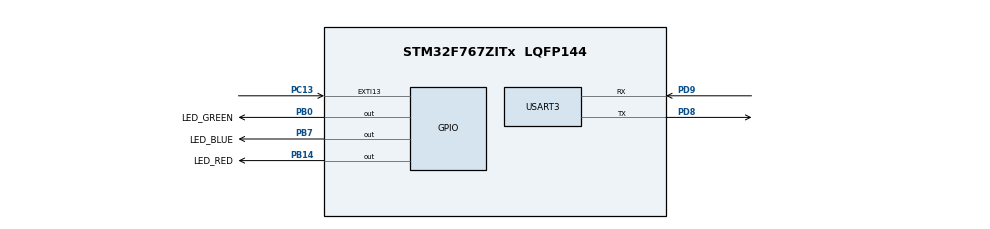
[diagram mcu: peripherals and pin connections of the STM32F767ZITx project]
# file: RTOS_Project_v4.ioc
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FREERTOS.BinarySemaphores01=myBinarySem01,Dynamic,NULL;invBinSemaphore,Dynamic,NULL
FREERTOS.Mutexes01=myMutex01,Dynamic,NULL;myMutex02,Dynamic,NULL;pipMutex,Dynamic,NULL
FREERTOS.Queues01=ledQueue,16,Message_t,0,Dynamic,NULL,NULL
FREERTOS.Tasks01=cli,24,128,CLI,Default,NULL,Dynamic,NULL,NULL;ledBlink,8,128,LedBlink,Default,NULL,Dynamic,NULL,NULL;pushButton,8,128,PushButton,Default,NULL,Dynamic,NULL,NULL;highPrioTask,15,128,HighPriorityTask,Default,NULL,Dynamic,NULL,NULL;mediumPrioTask,14,128,MediumPriorityTask,Default,NULL,Dynamic,NULL,NULL;lowPrioTask,13,128,LowPriorityTask,Default,NULL,Dynamic,NULL,NULL
FREERTOS.Timers01=myTimer01,Callback01,osTimerPeriodic,Default,NULL,Dynamic,NULL
FREERTOS.configUSE_NEWLIB_REENTRANT=1
Mcu.Family=STM32F7
Mcu.Name=STM32F767ZITx
Mcu.Package=LQFP144
NVIC.EXTI15_10_IRQn=true\:5\:0\:false\:false\:true\:true\:true\:true
NVIC.PriorityGroup=NVIC_PRIORITYGROUP_4
NVIC.TIM6_DAC_IRQn=true\:15\:0\:false\:false\:true\:false\:false\:true
NVIC.TimeBase=TIM6_DAC_IRQn
NVIC.TimeBaseIP=TIM6
NVIC.USART3_IRQn=true\:5\:0\:false\:false\:true\:true\:true\:true
PB0.GPIO_Label=LED_GREEN
PB0.Signal=GPIO_Output
PB14.GPIO_Label=LED_RED
PB14.Signal=GPIO_Output
PB7.GPIO_Label=LED_BLUE
PB7.Signal=GPIO_Output
PC13.Signal=GPXTI13
PD8.Mode=Asynchronous
PD8.Signal=USART3_TX
PD9.Mode=Asynchronous
PD9.Signal=USART3_RX
ProjectManager.HeapSize=0x200
ProjectManager.StackSize=0x400
ProjectManager.TargetToolchain=STM32CubeIDE
RCC.HSE_VALUE=25000000
RCC.HSI_VALUE=16000000
RCC.LSE_VALUE=32768
RCC.USBFreq_Value=96000000
RCC.VCOOutputFreq_Value=192000000
USART3.VirtualMode-Asynchronous=VM_ASYNC
VP_FREERTOS_VS_CMSIS_V2.Mode=CMSIS_V2
VP_SYS_VS_tim6.Mode=TIM6
board=custom

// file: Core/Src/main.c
/* USER CODE BEGIN Header */
/**
  ******************************************************************************
  * @file           : main.c
  * @brief          : Main program body
  ******************************************************************************
  * @attention
  *
  * Copyright (c) 2022 STMicroelectronics.
  * All rights reserved.
  *
  * This software is licensed under terms that can be found in the LICENSE file
  * in the root directory of this software component.
  * If no LICENSE file comes with this software, it is provided AS-IS.
  *
  ******************************************************************************
  */
/* USER CODE END Header */
#include "main.h"
#include "cmsis_os.h"
#include "usart.h"
#include "gpio.h"

void SystemClock_Config(void);
void MX_FREERTOS_Init(void);

int main(void)
{

  /* MCU Configuration--------------------------------------------------------*/

  /* Reset of all peripherals, Initializes the Flash interface and the Systick. */
  HAL_Init();

  /* Configure the system clock */
  SystemClock_Config();

  /* Initialize all configured peripherals */
  MX_GPIO_Init();
  MX_USART3_UART_Init();

  /* Init scheduler */
  osKernelInitialize();  /* Call init function for freertos objects (in freertos.c) */
  MX_FREERTOS_Init();
  /* Start scheduler */
  osKernelStart();

  /* We should never get here as control is now taken by the scheduler */
  /* Infinite loop */
  while (1)
  {

  }
}

void SystemClock_Config(void)
{
  RCC_OscInitTypeDef RCC_OscInitStruct = {0};
  RCC_ClkInitTypeDef RCC_ClkInitStruct = {0};

  /** Configure the main internal regulator output voltage
  */
  __HAL_RCC_PWR_CLK_ENABLE();
  __HAL_PWR_VOLTAGESCALING_CONFIG(PWR_REGULATOR_VOLTAGE_SCALE3);
  /** Initializes the RCC Oscillators according to the specified parameters
  * in the RCC_OscInitTypeDef structure.
  */
  RCC_OscInitStruct.OscillatorType = RCC_OSCILLATORTYPE_HSI;
  RCC_OscInitStruct.HSIState = RCC_HSI_ON;
  RCC_OscInitStruct.HSICalibrationValue = RCC_HSICALIBRATION_DEFAULT;
  RCC_OscInitStruct.PLL.PLLState = RCC_PLL_NONE;
  if (HAL_RCC_OscConfig(&RCC_OscInitStruct) != HAL_OK)
  {
    Error_Handler();
  }
  /** Initializes the CPU, AHB and APB buses clocks
  */
  RCC_ClkInitStruct.ClockType = RCC_CLOCKTYPE_HCLK|RCC_CLOCKTYPE_SYSCLK
                              |RCC_CLOCKTYPE_PCLK1|RCC_CLOCKTYPE_PCLK2;
  RCC_ClkInitStruct.SYSCLKSource = RCC_SYSCLKSOURCE_HSI;
  RCC_ClkInitStruct.AHBCLKDivider = RCC_SYSCLK_DIV1;
  RCC_ClkInitStruct.APB1CLKDivider = RCC_HCLK_DIV1;
  RCC_ClkInitStruct.APB2CLKDivider = RCC_HCLK_DIV1;

  if (HAL_RCC_ClockConfig(&RCC_ClkInitStruct, FLASH_LATENCY_0) != HAL_OK)
  {
    Error_Handler();
  }
}

void HAL_TIM_PeriodElapsedCallback(TIM_HandleTypeDef *htim)
{
  if (htim->Instance == TIM6) {
    HAL_IncTick();
  }
}

void Error_Handler(void)
{
  __disable_irq();
  while (1)
  {
  }
}

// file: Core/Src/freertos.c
/* USER CODE BEGIN Header */
/**
  ******************************************************************************
  * File Name          : freertos.c
  * Description        : Code for freertos applications
  ******************************************************************************
  * @attention
  *
  * Copyright (c) 2022 STMicroelectronics.
  * All rights reserved.
  *
  * This software is licensed under terms that can be found in the LICENSE file
  * in the root directory of this software component.
  * If no LICENSE file comes with this software, it is provided AS-IS.
  *
  ******************************************************************************
  */
/* USER CODE END Header */

#include "FreeRTOS.h"
#include "task.h"
#include "main.h"
#include "cmsis_os.h"

/* USER CODE BEGIN Includes */

#include <stdio.h>
#include <string.h>
#include <stdlib.h>
#include <stdint.h>
#include <stdbool.h>
#include "usart.h"

/* USER CODE END Includes */

/* USER CODE BEGIN PD */

#define RX_LEN 1024
#define EOM	'\n'
#define CR	'\r'

#define MESSAGE_TYPE_S				0
#define MESSAGE_TYPE_BLINK			1
#define MESSAGE_TYPE_PUSH_BUTTON	2
#define MESSAGE_TYPE_PIP			3
#define MESSAGE_TYPE_INV			4
#define MESSAGE_ANIMATION_SP		5
#define MESSAGE_ANIMATION_LEDS		6

#define THREAD_FLAG_PUSHBUTTON		(1U<<0)
#define THREAD_FLAG_MSGRECEIVED		(1U<<1)
#define THREAD_FLAG_MSGSENT			(1U<<2)

/* USER CODE END PD */

/* USER CODE BEGIN Variables */

/* Struct to encapsulate the data */
typedef struct Message
{
	uint8_t type;				/* Message Type */
	char led;					/* LED */
	uint16_t led_delay;			/* Frequency */
	uint8_t animation;			/* Animation: SerialPort or LEDs */
} Message_t;

// Global variable to handle the led pin
uint16_t led_pin;

// Global variable to handle the led increment
uint16_t led_inc = 0;

/* USER CODE END Variables */
/* Definitions for cli */
osThreadId_t cliHandle;
const osThreadAttr_t cli_attributes = {
  .name = "cli",
  .stack_size = 128 * 4,
  .priority = (osPriority_t) osPriorityNormal,
};
/* Definitions for ledBlink */
osThreadId_t ledBlinkHandle;
const osThreadAttr_t ledBlink_attributes = {
  .name = "ledBlink",
  .stack_size = 128 * 4,
  .priority = (osPriority_t) osPriorityLow,
};
/* Definitions for pushButton */
osThreadId_t pushButtonHandle;
const osThreadAttr_t pushButton_attributes = {
  .name = "pushButton",
  .stack_size = 128 * 4,
  .priority = (osPriority_t) osPriorityLow,
};
/* Definitions for highPrioTask */
osThreadId_t highPrioTaskHandle;
const osThreadAttr_t highPrioTask_attributes = {
  .name = "highPrioTask",
  .stack_size = 128 * 4,
  .priority = (osPriority_t) osPriorityLow7,
};
/* Definitions for mediumPrioTask */
osThreadId_t mediumPrioTaskHandle;
const osThreadAttr_t mediumPrioTask_attributes = {
  .name = "mediumPrioTask",
  .stack_size = 128 * 4,
  .priority = (osPriority_t) osPriorityLow6,
};
/* Definitions for lowPrioTask */
osThreadId_t lowPrioTaskHandle;
const osThreadAttr_t lowPrioTask_attributes = {
  .name = "lowPrioTask",
  .stack_size = 128 * 4,
  .priority = (osPriority_t) osPriorityLow5,
};
/* Definitions for ledQueue */
osMessageQueueId_t ledQueueHandle;
const osMessageQueueAttr_t ledQueue_attributes = {
  .name = "ledQueue"
};
/* Definitions for myTimer01 */
osTimerId_t myTimer01Handle;
const osTimerAttr_t myTimer01_attributes = {
  .name = "myTimer01"
};
/* Definitions for myMutex01 */
osMutexId_t myMutex01Handle;
const osMutexAttr_t myMutex01_attributes = {
  .name = "myMutex01"
};
/* Definitions for myMutex02 */
osMutexId_t myMutex02Handle;
const osMutexAttr_t myMutex02_attributes = {
  .name = "myMutex02"
};
/* Definitions for pipMutex */
osMutexId_t pipMutexHandle;
const osMutexAttr_t pipMutex_attributes = {
  .name = "pipMutex"
};
/* Definitions for myBinarySem01 */
osSemaphoreId_t myBinarySem01Handle;
const osSemaphoreAttr_t myBinarySem01_attributes = {
  .name = "myBinarySem01"
};
/* Definitions for invBinSemaphore */
osSemaphoreId_t invBinSemaphoreHandle;
const osSemaphoreAttr_t invBinSemaphore_attributes = {
  .name = "invBinSemaphore"
};

/* USER CODE BEGIN FunctionPrototypes */

uint16_t sendSerialPort(UART_HandleTypeDef *huart, char* ptr, uint16_t len);
void serialPortInit(UART_HandleTypeDef *huart);
uint16_t decodeLedName(char led);
void clearLEDs(void);
void printMenuOptions(void);

/* USER CODE END FunctionPrototypes */

void CLI(void *argument);
void LedBlink(void *argument);
void PushButton(void *argument);
void HighPriorityTask(void *argument);
void MediumPriorityTask(void *argument);
void LowPriorityTask(void *argument);
void Callback01(void *argument);

void MX_FREERTOS_Init(void); /* (MISRA C 2004 rule 8.1) */

void MX_FREERTOS_Init(void) {
  /* Create the mutex(es) */
  /* creation of myMutex01 */
  myMutex01Handle = osMutexNew(&myMutex01_attributes);

  /* creation of myMutex02 */
  myMutex02Handle = osMutexNew(&myMutex02_attributes);

  /* creation of pipMutex */
  pipMutexHandle = osMutexNew(&pipMutex_attributes);

  /* Create the semaphores(s) */
  /* creation of myBinarySem01 */
  myBinarySem01Handle = osSemaphoreNew(1, 1, &myBinarySem01_attributes);

  /* creation of invBinSemaphore */
  invBinSemaphoreHandle = osSemaphoreNew(1, 1, &invBinSemaphore_attributes);

  /* Create the timer(s) */
  /* creation of myTimer01 */
  myTimer01Handle = osTimerNew(Callback01, osTimerPeriodic, NULL, &myTimer01_attributes);

  /* Create the queue(s) */
  /* creation of ledQueue */
  ledQueueHandle = osMessageQueueNew (16, sizeof(Message_t), &ledQueue_attributes);

  /* Create the thread(s) */
  /* creation of cli */
  cliHandle = osThreadNew(CLI, NULL, &cli_attributes);

  /* creation of ledBlink */
  ledBlinkHandle = osThreadNew(LedBlink, NULL, &ledBlink_attributes);

  /* creation of pushButton */
  pushButtonHandle = osThreadNew(PushButton, NULL, &pushButton_attributes);

  /* creation of highPrioTask */
  highPrioTaskHandle = osThreadNew(HighPriorityTask, NULL, &highPrioTask_attributes);

  /* creation of mediumPrioTask */
  mediumPrioTaskHandle = osThreadNew(MediumPriorityTask, NULL, &mediumPrioTask_attributes);

  /* creation of lowPrioTask */
  lowPrioTaskHandle = osThreadNew(LowPriorityTask, NULL, &lowPrioTask_attributes);

  /* USER CODE BEGIN RTOS_THREADS */
  osThreadSuspend(pushButtonHandle);
  osThreadSuspend(ledBlinkHandle);
  osThreadSuspend(highPrioTaskHandle);
  osThreadSuspend(mediumPrioTaskHandle);
  osThreadSuspend(lowPrioTaskHandle);
  /* add threads, ... */
  /* USER CODE END RTOS_THREADS */

}

void CLI(void *argument)
{
  /* USER CODE BEGIN CLI */

	char *inputMessage;
	static const char command_1[] = "1";
	static const char command_2[] = "2";
	static const char command_3[] = "3";
	static const char command_4[] = "4";
	static const char command_5[] = "5";
	static const char command_6[] = "6";
	static const char command_exit[] = "S";
	int menu = 0;
	Message_t msg;

	/* Initialize the UART3 */
	serialPortInit(&huart3);

	/* Print the menu options */
	printMenuOptions();

  /* Infinite loop */
  for(;;)
  {
	  /*
	   * Wait forever until thread message received flag is set
	   * In this case, this function suspends the execution of this currently task until receive the notification
	   * Best option because when these thread flag are already set, the function returns instantly
	   * 45% faster and use less RAM memory, compared to semaphores (version 1), because is directly associated with this thread.
	   */
	  osThreadFlagsWait(THREAD_FLAG_MSGRECEIVED, osFlagsWaitAll, osWaitForever);

	  /* Extract the input message */
	  inputMessage = receiveSerialPort();

	  /* Exit option */
	  if ((memcmp(inputMessage, command_exit, 1) == 0))
	  {
		  /* Update the message Type */
		  msg.type = MESSAGE_TYPE_S;
		  /*
		   * With this approach, we create a communication channel via Queue in which each task suspends itself.
		   * More modular, better for debugging and error fixing, more elegant and
		   * saves a lot of code (we don't have to repeat for each specific task)
		   */
		  osMessageQueuePut(ledQueueHandle, &msg, 0, 10);

		  if (menu == 2) {
			  osMessageQueuePut(ledQueueHandle, &msg, 0, 10);
		  }

		  if (menu == 3 || menu == 4 || menu == 5 || menu == 6) {
			  osMessageQueuePut(ledQueueHandle, &msg, 0, 10);
			  osMessageQueuePut(ledQueueHandle, &msg, 0, 10);
		  }
		  /* Print the menu options */
		  printMenuOptions();
		  menu = 0;

		  /* Clear the user LEDs */
		  clearLEDs();
	  }

	  /* Choose the Menu 1: Blink LED automatically */
	  else if ((memcmp(inputMessage, command_1, 1) == 0) && !menu)
	  {
		  sendSerialPort(&huart3, "Indicate the LED and time (ms)\r\nExample: G500\r\n>", 48);
		  menu = 1;
	  }

	  /* Choose the Menu 2: Blink LED with push button */
	  else if ((memcmp(inputMessage, command_2, 1) == 0) && !menu)
	  {
		  sendSerialPort(&huart3, "Indicate the LED\r\nExample: G\r\n>", 31);
		  menu = 2;
	  }

	  /* Choose the Menu 3, 4, 5 or 6 */
	  else if (((memcmp(inputMessage, command_3, 1) == 0) || (memcmp(inputMessage, command_4, 1) == 0) ||
			   (memcmp(inputMessage, command_5, 1) == 0) || (memcmp(inputMessage, command_6, 1) == 0)) && !menu)
	  {
		  /* Menu 3: Visualize PIP with SerialPort */
		  if ((memcmp(inputMessage, command_3, 1) == 0) && !menu) {
			  msg.type = MESSAGE_TYPE_PIP;
			  msg.animation = MESSAGE_ANIMATION_SP;
			  menu = 3;
		  }
		  /* Menu 4: Visualize PIP with LEDs */
		  else if ((memcmp(inputMessage, command_4, 1) == 0) && !menu) {
			  msg.type = MESSAGE_TYPE_PIP;
			  msg.animation = MESSAGE_ANIMATION_LEDS;
			  menu = 4;
		  }
		  /* Menu 5: Visualize INV with SerialPort */
		  else if ((memcmp(inputMessage, command_5, 1) == 0) && !menu) {
			  msg.type = MESSAGE_TYPE_INV;
			  msg.animation = MESSAGE_ANIMATION_SP;
			  menu = 5;
		  }
		  /* Menu 6: Visualize INV with LEDs */
		  else if ((memcmp(inputMessage, command_6, 1) == 0) && !menu) {
			  msg.type = MESSAGE_TYPE_INV;
			  msg.animation = MESSAGE_ANIMATION_LEDS;
			  menu = 6;
		  }
		  /* Send the respective message via Queue */
		  if (osMessageQueuePut(ledQueueHandle, &msg, 0, 10) != osOK) {
			  sendSerialPort(&huart3, "Error: Could not put item on Queue\r\n", 36);
		  }

		  /* Resume the Low Priority Task to start the show */
		  if (osThreadResume(lowPrioTaskHandle) != osOK) {
			  sendSerialPort(&huart3, "ERROR: The PIP threads not resumed successfully\r\n", 49);
		  }
		  else {
			  sendSerialPort(&huart3, "Visualizing...\r\n", 16);
		  }
	  }

	  /* Menu 1: Choose the LED and time (ms) */
	  else if (menu == 1)
	  {
		  msg.led = inputMessage[0];					/* Extract the led */
		  char* tail = inputMessage + 1;				/* Extract the led_delay */
		  msg.led_delay = atoi(tail);					/* Convert to integer */
		  msg.led_delay = abs(msg.led_delay);			/* Convert to positive */
		  msg.type = MESSAGE_TYPE_BLINK;				/* Set the message type */

		  /* Send the message via Queue */
		  if (osMessageQueuePut(ledQueueHandle, &msg, 0, 10) != osOK) {
			  sendSerialPort(&huart3, "Error: Could not put item on Queue\r\n", 36);
		  }

		  /* Resume the LED_Blink task */
		  if (osThreadResume(ledBlinkHandle) != osOK) {
			  sendSerialPort(&huart3, "ERROR: The LED_Blink thread not resumed successfully\r\n", 54);
		  }

		  else {
			  sendSerialPort(&huart3, "LED is blinking ...\r\nEnter 'S' to exit\r\n>", 41);
		  }
	  }

	  /* Menu 2: Choose the LED */
	  else if (menu == 2)
	  {
		  msg.led = inputMessage[0];			/* Extract the led */
		  msg.type = MESSAGE_TYPE_PUSH_BUTTON;	/* Set the message type */

		  /* Send the message via Queue */
		  if (osMessageQueuePut(ledQueueHandle, &msg, 0, 10) != osOK) {
			  sendSerialPort(&huart3, "Error: Could not put item on Queue\r\n", 36);
		  }
		  /* Resume the PushButton thread */
		  if (osThreadResume(pushButtonHandle) != osOK) {
			  sendSerialPort(&huart3, "ERROR: The PushButton thread not resumed successfully\r\n", 55);
		  }
		  else {
			  sendSerialPort(&huart3, "Press the Push Button (PC13) to increase the LED blink rate or 'S' to exit\r\n>", 77);
		  }
	  }

	  /* Invalid command */
	  else
	  {
		  sendSerialPort(&huart3, "Invalid command!\r\n>", 19);
	  }

	  osDelay(1);
  }

   /* In case we accidentally exit from task loop */
   osThreadTerminate(NULL);

  /* USER CODE END CLI */
}

void LedBlink(void *argument)
{
  /* USER CODE BEGIN LedBlink */

	Message_t msg;

  /* Infinite loop */
  for(;;)
  {
	  /* See if there's a message in the Queue (not blocking) */
	  if (osMessageQueueGet(ledQueueHandle, &msg, 0, 0) == osOK)
	  {
		  /* If the message received is Type Blink the LED */
		  if (msg.type == MESSAGE_TYPE_BLINK)
		  {
			  /* Decode the LED pin */
			  led_pin = decodeLedName(msg.led);

			  /* Restart the timer */
			  osTimerStop(myTimer01Handle);

			  /* Start the timer with the corresponding LED period */
			  osTimerStart(myTimer01Handle, msg.led_delay);
		  }

		  /* If the message received is Type_S (Command to suspend the task) */
		  else if (msg.type == MESSAGE_TYPE_S)
		  {
			  /* Stop the Software Timer */
			  osTimerStop(myTimer01Handle);

			  /* Suspend the Task */
			  osThreadSuspend(ledBlinkHandle);
		  }
	  }
    osDelay(1);
  }

  /* In case we accidentally exit from task loop */
  osThreadTerminate(NULL);

  /* USER CODE END LedBlink */
}

void PushButton(void *argument)
{
  /* USER CODE BEGIN PushButton */

	osThreadFlagsClear(THREAD_FLAG_PUSHBUTTON);
	Message_t msg;

  /* Infinite loop */
  for(;;)
  {
	  /* See if there's a message in the Queue (not blocking) */
	  if (osMessageQueueGet(ledQueueHandle, &msg, 0, 0) == osOK)
	  {
		  /* If the message received is Type Push Button */
		  if (msg.type == MESSAGE_TYPE_PUSH_BUTTON)
		  {
			  /* Update the message */
			  msg.type = MESSAGE_TYPE_BLINK;
			  msg.led_delay = 1000;

			  /* Put the information on Queue */
			  osMessageQueuePut(ledQueueHandle, &msg, 0, 0);

			  /* Resume the Blink Task */
			  osThreadResume(ledBlinkHandle);

			  /* osDelay() to Blink task can receive via Queue the respective message */
			  osDelay(5);
		  }

		  /* If the message received is Type_S (Command to suspend the task) */
		  else if (msg.type == MESSAGE_TYPE_S)
		  {
			  /* Suspend the Task */
			  osThreadSuspend(pushButtonHandle);
		  }
	  }

	  /* If the push button was pressed */
	  if (osThreadFlagsGet() & THREAD_FLAG_PUSHBUTTON)
	  {
		  /* Clear Flag */
		  osThreadFlagsClear(THREAD_FLAG_PUSHBUTTON);

		  /* Update the led delay */
		  msg.led_delay = 1000-led_inc;

		  /* Put the information on Queue */
		  osMessageQueuePut(ledQueueHandle, &msg, 0, 0);

		  /* For debounce */
		  HAL_Delay(200);
	  }

    osDelay(1);
  }

  /* In case we accidentally exit from task loop */
  osThreadTerminate(NULL);

  /* USER CODE END PushButton */
}

void HighPriorityTask(void *argument)
{
  /* USER CODE BEGIN HighPriorityTask */
	Message_t msg;
	bool flag = 0;
	bool update = 0;
  /* Infinite loop */
  for(;;)
  {
	  /* See if there's a message in the Queue (not blocking) */
	  if (osMessageQueueGet(ledQueueHandle, &msg, 0, 0) == osOK)
	  {
		  /* If the message received is Type_S (Command to suspend the task) */
		  if (msg.type == MESSAGE_TYPE_S) {
			  osMutexRelease(pipMutexHandle);
			  flag = 0;
			  update = 0;
			  osThreadSuspend(highPrioTaskHandle);
		  }
		  /* If the message received is to start */
		  else {
			  flag = 0;
			  update = 1;
		  }
		  /* osDelay() to other tasks can receive via Queue the respective messages */
		  osDelay(5);
	  }

	  /* Safer, as it only starts when all parameters are configured */
	  if (update)
	  {
		  /* Animation: Serial Port or LEDs */
		  if (msg.animation == MESSAGE_ANIMATION_SP)
			  sendSerialPort(&huart3, "High Task\r\n", 11);
		  else if (msg.animation == MESSAGE_ANIMATION_LEDS)
			  HAL_GPIO_TogglePin(LED_RED_GPIO_Port, LED_RED_Pin);

		  HAL_Delay(250);

		  /* Only for the first iteration */
		  if (!flag) {
			  /* Mechanism: PIP or INV */
			  if (msg.type == MESSAGE_TYPE_PIP)
				  osMutexAcquire(pipMutexHandle, osWaitForever);
			  else if (msg.type == MESSAGE_TYPE_INV)
				  osSemaphoreAcquire(invBinSemaphoreHandle, osWaitForever);
			  flag = 1;
		  }
		  HAL_Delay(250);
	  }
  }
  /* In case we accidentally exit from task loop */
  osThreadTerminate(NULL);

  /* USER CODE END HighPriorityTask */
}

void MediumPriorityTask(void *argument)
{
  /* USER CODE BEGIN MediumPriorityTask */
	Message_t msg;
	msg.animation = MESSAGE_ANIMATION_SP;
  /* Infinite loop */
  for(;;)
  {
	  /* See if there's a message in the Queue (not blocking) */
	  if (osMessageQueueGet(ledQueueHandle, &msg, 0, 0) == osOK)
	  {
		  /* If the message received is Type_S (Command to suspend the task) */
		  if (msg.type == MESSAGE_TYPE_S) {
			  osSemaphoreRelease(invBinSemaphoreHandle);
			  osThreadSuspend(mediumPrioTaskHandle);
		  }
		  /* osDelay() to other tasks can receive via Queue the respective messages */
		  osDelay(5);
	  }
	  else
	  {
		  /* Animation: Serial Port or LEDs */
		  if (msg.animation == MESSAGE_ANIMATION_SP)
			  sendSerialPort(&huart3, "Medium Task\r\n", 13);
		  else if (msg.animation == MESSAGE_ANIMATION_LEDS)
			  HAL_GPIO_TogglePin(LED_BLUE_GPIO_Port, LED_BLUE_Pin);
		  HAL_Delay(500);
	  }

  }
  /* In case we accidentally exit from task loop */
  osThreadTerminate(NULL);

  /* USER CODE END MediumPriorityTask */
}

void LowPriorityTask(void *argument)
{
  /* USER CODE BEGIN LowPriorityTask */
	Message_t msg;
	bool update = 0;
	int try = 0;
  /* Infinite loop */
  for(;;)
  {
	  /* See if there's a message in the Queue (not blocking) */
	  if (osMessageQueueGet(ledQueueHandle, &msg, 0, 0) == osOK)
	  {
		  /* If the message received is Type_S (Command to suspend the task) */
		  if (msg.type == MESSAGE_TYPE_S) {
			  update = 0;
			  try = 0;
			  osThreadSuspend(lowPrioTaskHandle);
		  }
		  /* If the message received is to start */
		  else {
			  try = 0;
			  update = 1;
		  }
		  /* osDelay() to other tasks can receive via Queue the respective messages */
		  osDelay(5);
	  }

	  /* Safer, as it only starts when all parameters are configured */
	  if (update)
	  {
		  /* Animation: Serial Port or LEDs */
		  if (msg.animation == MESSAGE_ANIMATION_SP)
			  sendSerialPort(&huart3, "Low Task\r\n", 10);
		  else if (msg.animation == MESSAGE_ANIMATION_LEDS)
			  HAL_GPIO_TogglePin(LED_GREEN_GPIO_Port, LED_GREEN_Pin);
		  HAL_Delay(250);

		  try++;

		  /* For the first iteration */
		  if (try == 1) {
			  /* Mechanism: PIP or INV */
			  if (msg.type == MESSAGE_TYPE_PIP) {
				  osMutexAcquire(pipMutexHandle, 100);
				  sendSerialPort(&huart3, "Mutex Acquired by Low Task\r\n", 28);
			  }
			  else if (msg.type == MESSAGE_TYPE_INV) {
				  osSemaphoreAcquire(invBinSemaphoreHandle, 100);
				  sendSerialPort(&huart3, "Semaphore Acquired by Low Task\r\n", 32);
			  }

			  /* Send the respective information via Queue to other Tasks */
			  osMessageQueuePut(ledQueueHandle, &msg, 0, 0);
			  osMessageQueuePut(ledQueueHandle, &msg, 0, 0);

			  /* Resume the other Tasks */
			  osThreadResume(highPrioTaskHandle);
			  osThreadResume(mediumPrioTaskHandle);

			  try = 1;
		  }

		  /* If the 10th iteration has been reached */
		  if (try == 11) {
			  HAL_GPIO_WritePin(LED_GREEN_GPIO_Port, LED_GREEN_Pin, 0);
			  if (msg.type == MESSAGE_TYPE_PIP) {
				  sendSerialPort(&huart3, "Mutex Release by Low Task\r\n", 27);
				  osMutexRelease(pipMutexHandle);
			  }
			  else if (msg.type == MESSAGE_TYPE_INV) {
				  sendSerialPort(&huart3, "Semaphore Release by Low Task\r\n", 31);
				  osSemaphoreAcquire(invBinSemaphoreHandle, 100);
			  }
			  try = 0;
		  }

		  HAL_Delay(250);
	  }
  }
  /* In case we accidentally exit from task loop */
  osThreadTerminate(NULL);

  /* USER CODE END LowPriorityTask */
}

/* Callback01 function */
void Callback01(void *argument)
{
  /* USER CODE BEGIN Callback01 */

	/* Toggle the respective LED */
	HAL_GPIO_TogglePin(GPIOB, led_pin);

  /* USER CODE END Callback01 */
}

/* USER CODE BEGIN Application */

// Reception Buffer struct
typedef struct RX_BUFFER
{
	uint8_t buffer[RX_LEN];						/* Buffer */
	uint32_t start, end;						/* Start index & End index */
	uint32_t len;								/* Number of occupied positions */
} rx_buffer_t;

rx_buffer_t Rx_buffer;

char str[RX_LEN];

/*
 * @brief UART Reception Complete Callback
 * @param huart specifies the UART handle
 * @retval None
 */
void HAL_UART_RxCpltCallback(UART_HandleTypeDef* huart)
{
	if(huart->Instance == USART3)
	{
		HAL_UART_Receive_IT(&huart3, &Rx_buffer.buffer[++Rx_buffer.end & (RX_LEN - 1)], 1);
		Rx_buffer.len++;
		if (Rx_buffer.buffer[(Rx_buffer.end - 1) & (RX_LEN - 1)] == EOM) {
			/* Release the Semaphore */
			osThreadFlagsSet(cliHandle, THREAD_FLAG_MSGRECEIVED);
		}
	}
}

/*
 * @brief UART Transmission Complete Callback
 * @param huart specifies the UART handle
 * @retval None
 */
void HAL_UART_TxCpltCallback(UART_HandleTypeDef* huart)
{
	if(huart->Instance == USART3) {
		/* Release the Tx Complete Semaphore */
		osSemaphoreRelease(myBinarySem01Handle);
	}
}

/*
 * @brief Serial Port Initialization
 * @param huart specifies the UART handle
 * @retval None
 */
void serialPortInit(UART_HandleTypeDef *huart)
{
	Rx_buffer.start = 0;
	Rx_buffer.end = 0;
	Rx_buffer.len = 0;
	HAL_UART_Receive_IT(huart, &Rx_buffer.buffer[Rx_buffer.end & (RX_LEN - 1)], 1);
}

/*
 * @brief Serial Port Send Message
 * @param huart specifies the UART handle
 * @param ptr specifies the message
 * @param len specifies the message length
 * @retval HAL_Status
 */
uint16_t sendSerialPort(UART_HandleTypeDef *huart, char* ptr, uint16_t len)
{
	/* HAL_status flag */
	HAL_StatusTypeDef res;

	/* Protect the communication --> Acquire the Mutex */
	osMutexAcquire(myMutex01Handle, 1000);

	/* Try to acquire the send semaphore */
	if (osSemaphoreAcquire(myBinarySem01Handle, 100) == osOK)
	{
		do
		{
			res = HAL_UART_Transmit_IT(huart, (uint8_t *)ptr, len);
		} while (res == HAL_BUSY);

		if (res == HAL_TIMEOUT)
		{
			len = 0;
			huart->gState == HAL_UART_STATE_READY;
		}
	}

	/* Release the Mutex --> Communication done */
	osMutexRelease(myMutex01Handle);

	return len;
}

/*
 * @brief Serial Port Receive Message
 * @param None
 * @retval Message received
 */
char* receiveSerialPort(void)
{
	int i = 0;

	/* Protect the read operation --> Acquire the Mutex */
	osMutexAcquire(myMutex02Handle, 1000);

	while (Rx_buffer.buffer[Rx_buffer.start & (RX_LEN - 1)] != CR)
	{
		str[i++] = Rx_buffer.buffer[Rx_buffer.start++ & (RX_LEN - 1)];
		Rx_buffer.len--;
	}
	str[i] = '\0';
	Rx_buffer.start++;
	Rx_buffer.start++;
	Rx_buffer.len--;
	Rx_buffer.len--;

	/* Release the Mutex */
	osMutexRelease(myMutex02Handle);

	if(str[0] == '\0')
		return "\n";

	return str;
}

/*
 * @brief External GPIO callback
 * @param None
 * @retval None
 */
void HAL_GPIO_EXTI_Callback(uint16_t GPIO_Pin)
{
	if (GPIO_Pin == GPIO_PIN_13) {
		/* Set the respective thread flag */
		osThreadFlagsSet(pushButtonHandle, THREAD_FLAG_PUSHBUTTON);

		/* Increment the led inc */
		led_inc = (led_inc + 100) % 1000;
	}
}

/*
 * @brief Decode the led name
 * @param Led name ('G', 'B' or 'R')
 * @retval GPIO_PIN_X
 */
uint16_t decodeLedName(char led)
{
	uint16_t led_pin;

	if (led == 'B') {
		led_pin = GPIO_PIN_7;
	}
	else if (led == 'R') {
		led_pin = GPIO_PIN_14;
	}
	else  {
		led_pin = GPIO_PIN_0;
	}
	return led_pin;
}

/*
 * @brief Clear the user LEDs
 * @param None
 * @retval None
 */
void clearLEDs(void)
{
	HAL_GPIO_WritePin(LED_GREEN_GPIO_Port, LED_GREEN_Pin, GPIO_PIN_RESET);		/* Clear Green LED */
	HAL_GPIO_WritePin(LED_BLUE_GPIO_Port, LED_BLUE_Pin, GPIO_PIN_RESET);		/* Clear Blue LED */
	HAL_GPIO_WritePin(LED_RED_GPIO_Port, LED_RED_Pin, GPIO_PIN_RESET);			/* Clear Red LED */
}

void printMenuOptions(void)
{
	sendSerialPort(&huart3, "Welcome to Real Time Operating Systems!\r\n", 41);
	sendSerialPort(&huart3, "1: Blink a LED automatically\r\n", 30);
	sendSerialPort(&huart3, "2: Blink a LED with a push button\r\n", 35);
	sendSerialPort(&huart3, "3: Visualize the PIP with SerialPort\r\n", 38);
	sendSerialPort(&huart3, "4: Visualize the PIP with LEDs\r\n", 32);
	sendSerialPort(&huart3, "5: Visualize the Semaphore Priority Inversion with SerialPort\r\n", 63);
	sendSerialPort(&huart3, "6: Visualize the Semaphore Priority Inversion with LEDs\r\n>", 58);
}

/* USER CODE END Application */
